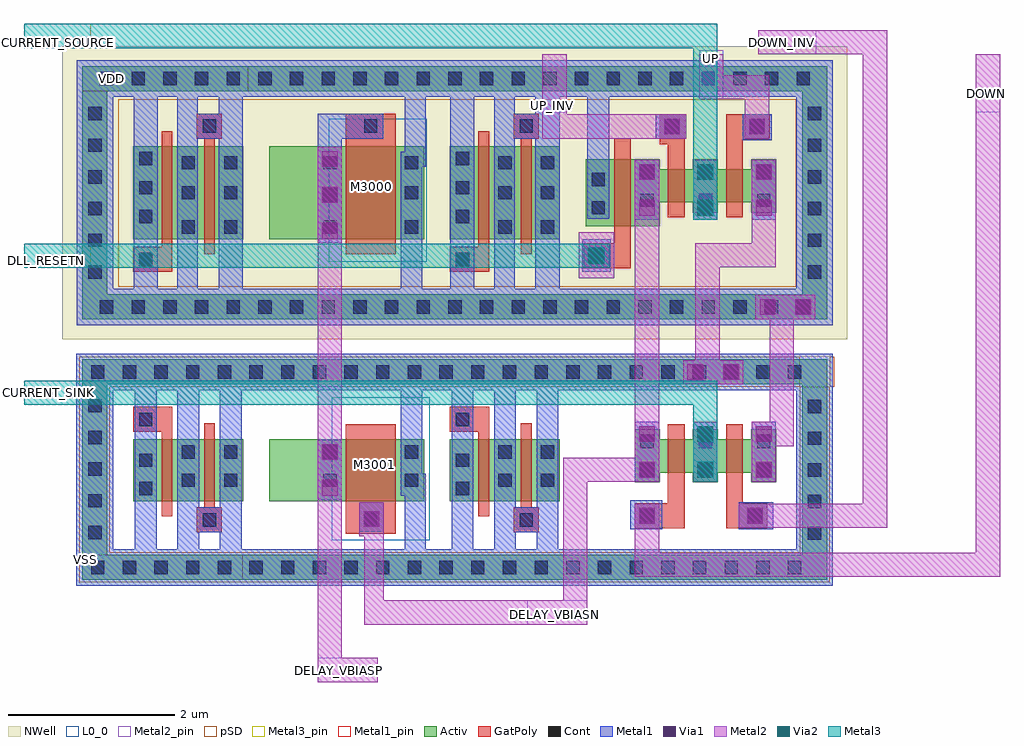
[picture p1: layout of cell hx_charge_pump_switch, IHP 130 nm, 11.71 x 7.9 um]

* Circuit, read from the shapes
.subckt hx_charge_pump_switch CURRENT_SINK CURRENT_SOURCE DELAY_VBIASN DELAY_VBIASP DLL_RESETN DOWN DOWN_INV UP UP_INV VDD VSS
XM1 VSS VSS VSS VSS sg13_lv_nmos w=0.74u l=0.13u m=4
XM2 VSS DELAY_VBIASN DELAY_VBIASP VSS sg13_lv_nmos w=0.74u l=0.6u
XM3 CURRENT_SINK DOWN DELAY_VBIASN VSS sg13_lv_nmos w=0.4u l=0.2u
XM4 VDD DOWN_INV CURRENT_SINK VSS sg13_lv_nmos w=0.4u l=0.2u
XM5 VDD VDD VDD VDD sg13_lv_pmos w=1.12u l=0.13u m=4
XM6 VDD DELAY_VBIASP DELAY_VBIASP VDD sg13_lv_pmos w=1.12u l=0.6u
XM7 DELAY_VBIASN DLL_RESETN VDD VDD sg13_lv_pmos w=0.8u l=0.2u
XM8 CURRENT_SOURCE UP_INV DELAY_VBIASN VDD sg13_lv_pmos w=0.4u l=0.2u
XM9 VSS UP CURRENT_SOURCE VDD sg13_lv_pmos w=0.4u l=0.2u
.ends

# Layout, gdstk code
import gdstk
lib = gdstk.Library(unit=1e-6, precision=1e-09)
def R(c, l, rs):  # rectangles x0, y0, x1, y1
    for r in rs: c.add(gdstk.rectangle(r[:2], r[2:], *l))
def A(c, l, x, y, w, h, nx, ny, dx, dy):  # array of equal rectangles
    R(c, l, [(x+i*dx, y+j*dy, x+i*dx+w, y+j*dy+h) for i in range(nx) for j in range(ny)])
def P(c, l, *ps):  # polygons
    for p in ps: c.add(gdstk.Polygon(p, *l))
L0_0 = (0, 0)
Activ = (1, 0)
GatPoly = (5, 0)
Cont = (6, 0)
Metal1 = (8, 0)
Metal1_pin = (8, 2)
Metal2 = (10, 0)
Metal2_pin = (10, 2)
pSD = (14, 0)
Via1 = (19, 0)
Via2 = (29, 0)
Metal3 = (30, 0)
Metal3_pin = (30, 2)
NWell = (31, 0)

hx_charge_pump_switch = lib.new_cell('hx_charge_pump_switch')
R(hx_charge_pump_switch, L0_0, [(-0.81,1.925,0.37,3.64), (-0.845,5.27,0.335,6.985)])
R(hx_charge_pump_switch, Activ, [(-3.19,2.395,-1.87,3.135), (-1.56,2.395,0.3,3.135), (0.61,2.395,1.93,3.135), (-3.19,5.535,-1.87,6.655), (-1.56,5.535,0.3,6.655), (0.61,5.535,1.93,6.655)])
P(hx_charge_pump_switch, Activ, [(2.24,5.695),(2.24,6.495),(3.125,6.495),(3.125,6.38),(3.525,6.38),(3.525,6.495),(3.825,6.495),(3.825,6.38),(4.225,6.38),(4.225,6.495),(4.525,6.495),(4.525,5.855),(4.225,5.855),(4.225,5.98),(3.825,5.98),(3.825,5.855),(3.525,5.855),(3.525,5.98),(3.125,5.98),(3.125,5.695)],
  [(-3.8,1.45),(-3.8,4.095),(5.135,4.095),(5.135,3.795),(-3.5,3.795),(-3.5,1.75),(4.835,1.75),(4.835,3.795),(5.135,3.795),(5.135,1.45)],
  [(-3.8,4.575),(-3.8,7.615),(5.135,7.615),(5.135,7.315),(-3.5,7.315),(-3.5,4.875),(4.835,4.875),(4.835,7.315),(5.135,7.315),(5.135,4.575)],
  [(2.825,2.62),(2.825,3.26),(3.125,3.26),(3.125,3.135),(3.525,3.135),(3.525,3.26),(3.825,3.26),(3.825,3.135),(4.225,3.135),(4.225,3.26),(4.525,3.26),(4.525,2.62),(4.225,2.62),(4.225,2.735),(3.825,2.735),(3.825,2.62),(3.525,2.62),(3.525,2.735),(3.125,2.735),(3.125,2.62)])
R(hx_charge_pump_switch, GatPoly, [(-0.64,2.005,-0.04,3.315), (-0.64,5.355,-0.04,7.045)])
P(hx_charge_pump_switch, GatPoly, [(2.215,5.19),(2.215,5.49),(2.58,5.49),(2.58,6.745),(2.78,6.745),(2.78,5.19)],
  [(3.225,5.8),(3.225,6.675),(3.125,6.675),(3.125,7.04),(3.425,7.04),(3.425,5.8)],
  [(3.925,5.8),(3.925,7.04),(4.445,7.04),(4.445,6.74),(4.125,6.74),(4.125,5.8)],
  [(3.925,2.07),(3.925,3.315),(4.125,3.315),(4.125,2.37),(4.42,2.37),(4.42,2.07)],
  [(2.825,2.07),(2.825,2.37),(3.225,2.37),(3.225,3.315),(3.425,3.315),(3.425,2.07)],
  [(-2.425,2.02),(-2.425,2.32),(-2.34,2.32),(-2.34,3.33),(-2.21,3.33),(-2.21,2.32),(-2.125,2.32),(-2.125,2.02)],
  [(-2.85,2.215),(-2.85,3.225),(-3.19,3.225),(-3.19,3.525),(-2.72,3.525),(-2.72,2.215)],
  [(-2.34,5.355),(-2.34,6.745),(-2.425,6.745),(-2.425,7.045),(-2.125,7.045),(-2.125,6.745),(-2.21,6.745),(-2.21,5.355)],
  [(-3.19,5.145),(-3.19,5.445),(-2.85,5.445),(-2.85,6.835),(-2.72,6.835),(-2.72,5.145)],
  [(0.61,5.145),(0.61,5.445),(0.95,5.445),(0.95,6.835),(1.08,6.835),(1.08,5.145)],
  [(1.46,5.355),(1.46,6.745),(1.375,6.745),(1.375,7.045),(1.675,7.045),(1.675,6.745),(1.59,6.745),(1.59,5.355)],
  [(0.95,2.215),(0.95,3.225),(0.61,3.225),(0.61,3.525),(1.08,3.525),(1.08,2.215)],
  [(1.375,2.02),(1.375,2.32),(1.46,2.32),(1.46,3.33),(1.59,3.33),(1.59,2.32),(1.675,2.32),(1.675,2.02)])
A(hx_charge_pump_switch, Cont, -3.695, 1.52, 0.16, 0.16, 23, 2, 0.38, 2.345)
A(hx_charge_pump_switch, Cont, 4.905, 1.93, 0.16, 0.16, 1, 5, 0, 0.38)
A(hx_charge_pump_switch, Cont, -3.73, 1.94, 0.16, 0.16, 1, 5, 0, 0.38)
A(hx_charge_pump_switch, Cont, 2.895, 2.69, 0.16, 0.16, 3, 2, 0.7, 0.34)
A(hx_charge_pump_switch, Cont, -3.59, 4.645, 0.16, 0.16, 23, 2, 0.38, 2.74)
A(hx_charge_pump_switch, Cont, -3.73, 5.065, 0.16, 0.16, 1, 6, 0, 0.38)
A(hx_charge_pump_switch, Cont, 4.905, 5.065, 0.16, 0.16, 1, 6, 0, 0.38)
A(hx_charge_pump_switch, Cont, -0.91, 5.605, 0.16, 0.16, 1, 3, 0, 0.385)
A(hx_charge_pump_switch, Cont, 2.895, 5.925, 0.16, 0.16, 3, 2, 0.7, 0.34)
R(hx_charge_pump_switch, Cont, [(-2.355,2.09,-2.195,2.25), (1.445,2.09,1.605,2.25), (-0.42,2.095,-0.26,2.255), (2.895,2.14,3.055,2.3), (4.19,2.14,4.35,2.3), (-3.12,2.465,-2.96,2.625), (0.68,2.465,0.84,2.625), (-2.61,2.565,-2.45,2.725), (-2.1,2.565,-1.94,2.725), (-0.91,2.565,-0.75,2.725), (0.07,2.565,0.23,2.725), (1.19,2.565,1.35,2.725), (1.7,2.565,1.86,2.725), (-3.12,2.805,-2.96,2.965), (0.68,2.805,0.84,2.965), (-2.61,2.905,-2.45,3.065), (-2.1,2.905,-1.94,3.065), (-0.91,2.905,-0.75,3.065), (0.07,2.905,0.23,3.065), (1.19,2.905,1.35,3.065), (1.7,2.905,1.86,3.065), (-3.12,3.295,-2.96,3.455), (0.68,3.295,0.84,3.455), (-3.12,5.215,-2.96,5.375), (0.68,5.215,0.84,5.375), (2.285,5.26,2.445,5.42), (-2.61,5.605,-2.45,5.765), (-2.1,5.605,-1.94,5.765), (0.07,5.605,0.23,5.765), (1.19,5.605,1.35,5.765), (1.7,5.605,1.86,5.765), (-3.12,5.73,-2.96,5.89), (0.68,5.73,0.84,5.89), (2.31,5.835,2.47,5.995), (-2.61,6.015,-2.45,6.175), (-2.1,6.015,-1.94,6.175), (0.07,6.015,0.23,6.175), (1.19,6.015,1.35,6.175), (1.7,6.015,1.86,6.175), (-3.12,6.075,-2.96,6.235), (0.68,6.075,0.84,6.235), (2.31,6.175,2.47,6.335), (-2.61,6.375,-2.45,6.535), (-2.1,6.375,-1.94,6.535), (0.07,6.375,0.23,6.535), (1.19,6.375,1.35,6.535), (1.7,6.375,1.86,6.535), (-3.12,6.425,-2.96,6.585), (0.68,6.425,0.84,6.585), (3.195,6.81,3.355,6.97), (4.215,6.81,4.375,6.97), (-2.355,6.815,-2.195,6.975), (-0.42,6.815,-0.26,6.975), (1.445,6.815,1.605,6.975)])
A(hx_charge_pump_switch, Metal1, 2.83, 2.625, 0.29, 0.72, 3, 2, 0.7, 3.145)
R(hx_charge_pump_switch, Metal1, [(-3.17,1.82,-2.91,3.725), (0.63,1.82,0.89,3.725), (-0.475,2.025,-0.185,2.38), (2.775,2.06,3.16,2.405), (4.075,2.06,4.49,2.38), (-0.975,2.41,-0.685,3.13), (4.23,2.625,4.52,3.345), (-3.185,4.945,-2.895,7.245), (0.615,4.945,0.905,7.245), (2.2,5.145,2.54,5.54), (2.26,5.785,2.52,7.245), (4.125,6.725,4.47,7.04), (3.08,6.745,3.445,7.035)])
P(hx_charge_pump_switch, Metal1, [(-3.875,1.38),(-3.875,4.165),(4.765,4.165),(4.765,3.725),(-3.43,3.725),(-3.43,1.82),(4.765,1.82),(4.765,4.165),(5.205,4.165),(5.205,1.38)],
  [(-3.87,4.505),(-3.87,7.685),(4.765,7.685),(4.765,7.245),(-3.43,7.245),(-3.43,4.945),(4.765,4.945),(4.765,7.685),(5.205,7.685),(5.205,4.505)],
  [(0.02,4.945),(0.02,6.585),(0.07,6.585),(0.07,7.245),(0.32,7.245),(0.32,6.405),(0.28,6.405),(0.28,4.945)],
  [(0.07,1.82),(0.07,2.46),(0.02,2.46),(0.02,3.725),(0.28,3.725),(0.28,2.725),(0.32,2.725),(0.32,1.82)],
  [(-0.975,5.495),(-0.975,7.045),(-0.19,7.045),(-0.19,6.745),(-0.685,6.745),(-0.685,5.495)],
  [(-2.66,4.945),(-2.66,7.245),(-2.415,7.245),(-2.415,7.045),(-2.165,7.045),(-2.165,7.245),(-1.875,7.245),(-1.875,4.945),(-2.165,4.945),(-2.165,6.745),(-2.415,6.745),(-2.415,4.945)],
  [(-2.66,1.82),(-2.66,3.725),(-2.4,3.725),(-2.4,2.32),(-2.15,2.32),(-2.15,3.725),(-1.89,3.725),(-1.89,1.82),(-2.15,1.82),(-2.15,2.02),(-2.4,2.02),(-2.4,1.82)],
  [(1.14,1.82),(1.14,3.725),(1.4,3.725),(1.4,2.32),(1.65,2.32),(1.65,3.725),(1.91,3.725),(1.91,1.82),(1.65,1.82),(1.65,2.02),(1.4,2.02),(1.4,1.82)],
  [(1.14,4.945),(1.14,7.245),(1.385,7.245),(1.385,7.045),(1.635,7.045),(1.635,7.245),(1.925,7.245),(1.925,4.945),(1.635,4.945),(1.635,6.745),(1.385,6.745),(1.385,4.945)])
R(hx_charge_pump_switch, Metal1_pin, [(-3.8,1.45,-1.875,1.75), (-3.8,7.315,-1.81,7.615)])
R(hx_charge_pump_switch, Metal2, [(3.53,2.625,3.82,3.345), (2.155,5.07,2.58,5.62), (3.53,5.77,3.82,6.49)])
P(hx_charge_pump_switch, Metal2, [(-0.42,0.915),(-0.42,1.975),(-0.475,1.975),(-0.475,2.38),(-0.185,2.38),(-0.185,1.205),(1.97,1.205),(1.97,2.915),(2.83,2.915),(2.83,6.49),(3.12,6.49),(3.12,2.625),(2.26,2.625),(2.26,0.915)],
  [(1.72,6.745),(1.72,7.755),(2.01,7.755),(2.01,7.035),(3.445,7.035),(3.445,6.745)],
  [(4.15,6.745),(4.15,7.215),(3.6,7.215),(3.6,7.755),(3.89,7.755),(3.89,7.505),(4.44,7.505),(4.44,6.745)],
  [(3.41,3.795),(3.41,4.085),(3.555,4.085),(3.555,5.49),(4.23,5.49),(4.23,6.49),(4.52,6.49),(4.52,5.2),(3.845,5.2),(3.845,4.085),(4.13,4.085),(4.13,3.795)],
  [(4.23,2.625),(4.23,3.345),(4.445,3.345),(4.445,4.58),(4.275,4.58),(4.275,4.87),(4.995,4.87),(4.995,4.58),(4.735,4.58),(4.735,3.055),(4.52,3.055),(4.52,2.625)],
  [(4.075,2.075),(4.075,2.365),(5.565,2.365),(5.565,7.755),(4.31,7.755),(4.31,8.045),(5.855,8.045),(5.855,2.075)],
  [(2.83,1.485),(2.83,2.365),(3.12,2.365),(3.12,1.775),(6.92,1.775),(6.92,7.755),(7.21,7.755),(7.21,1.485)],
  [(-0.975,0.225),(-0.975,6.645),(-0.685,6.645),(-0.685,0.515),(-0.255,0.515),(-0.255,0.225)])
R(hx_charge_pump_switch, Metal2_pin, [(-0.975,0.225,-0.255,0.515), (1.54,0.915,2.26,1.205), (1.72,7.06,2.01,7.755), (6.92,7.06,7.21,7.755), (3.6,7.215,3.89,7.805), (4.31,7.755,5.005,8.045)])
R(hx_charge_pump_switch, pSD, [(-3.37,4.97,4.765,7.215)])
P(hx_charge_pump_switch, pSD, [(-3.835,1.42),(-3.835,4.125),(5.22,4.125),(5.22,3.765),(-3.47,3.765),(-3.47,1.78),(4.805,1.78),(4.805,4.125),(5.165,4.125),(5.165,1.42)])
A(hx_charge_pump_switch, Via1, 2.88, 2.675, 0.19, 0.19, 3, 2, 0.7, 0.43)
A(hx_charge_pump_switch, Via1, -0.925, 5.545, 0.19, 0.19, 1, 3, 0, 0.43)
A(hx_charge_pump_switch, Via1, 2.88, 5.82, 0.19, 0.19, 3, 2, 0.7, 0.43)
R(hx_charge_pump_switch, Via1, [(-0.425,2.085,-0.235,2.275), (2.88,2.125,3.07,2.315), (4.175,2.125,4.365,2.315), (-0.925,2.46,-0.735,2.65), (-0.925,2.89,-0.735,3.08), (3.46,3.85,3.65,4.04), (3.89,3.85,4.08,4.04), (4.325,4.63,4.515,4.82), (4.755,4.63,4.945,4.82), (2.27,5.245,2.46,5.435), (3.18,6.795,3.37,6.985), (4.2,6.795,4.39,6.985)])
R(hx_charge_pump_switch, Via2, [(3.58,2.675,3.77,2.865), (3.58,3.105,3.77,3.295), (2.27,5.245,2.46,5.435), (3.58,5.82,3.77,6.01), (3.58,6.25,3.77,6.44)])
R(hx_charge_pump_switch, Metal3, [(-4.5,5.195,2.525,5.485)])
P(hx_charge_pump_switch, Metal3, [(3.53,5.77),(3.53,7.83),(-4.5,7.83),(-4.5,8.12),(3.82,8.12),(3.82,5.77)],
  [(3.53,2.625),(3.53,3.55),(-4.5,3.55),(-4.5,3.84),(3.82,3.84),(3.82,2.625)])
R(hx_charge_pump_switch, Metal3_pin, [(-4.5,3.55,-3.7,3.84), (-4.5,5.195,-3.7,5.485), (-4.5,7.83,-3.7,8.12)])
R(hx_charge_pump_switch, NWell, [(-4.04,4.335,5.375,7.855)])
hx_charge_pump_switch.add(gdstk.Label('M3001', (-0.29,2.83), layer=0, texttype=0))
hx_charge_pump_switch.add(gdstk.Label('M3000', (-0.325,6.175), layer=0, texttype=0))
hx_charge_pump_switch.add(gdstk.Label('VSS', (-3.76,1.69), layer=8, texttype=25))
hx_charge_pump_switch.add(gdstk.Label('VDD', (-3.445,7.46), layer=8, texttype=25))
hx_charge_pump_switch.add(gdstk.Label('UP_INV', (1.84,7.145), layer=10, texttype=25))
hx_charge_pump_switch.add(gdstk.Label('DOWN', (7.045,7.29), layer=10, texttype=25))
hx_charge_pump_switch.add(gdstk.Label('DOWN_INV', (4.585,7.9), layer=10, texttype=25))
hx_charge_pump_switch.add(gdstk.Label('UP', (3.735,7.71), layer=10, texttype=25))
hx_charge_pump_switch.add(gdstk.Label('DELAY_VBIASP', (-0.725,0.36), layer=10, texttype=25))
hx_charge_pump_switch.add(gdstk.Label('DELAY_VBIASN', (1.86,1.035), layer=10, texttype=25))
hx_charge_pump_switch.add(gdstk.Label('CURRENT_SOURCE', (-4.145,7.895), layer=30, texttype=25))
hx_charge_pump_switch.add(gdstk.Label('CURRENT_SINK', (-4.4,3.695), layer=30, texttype=25))
hx_charge_pump_switch.add(gdstk.Label('DLL_RESETN', (-4.23,5.286), layer=30, texttype=25))

lib.write_gds('hx_charge_pump_switch.gds')
